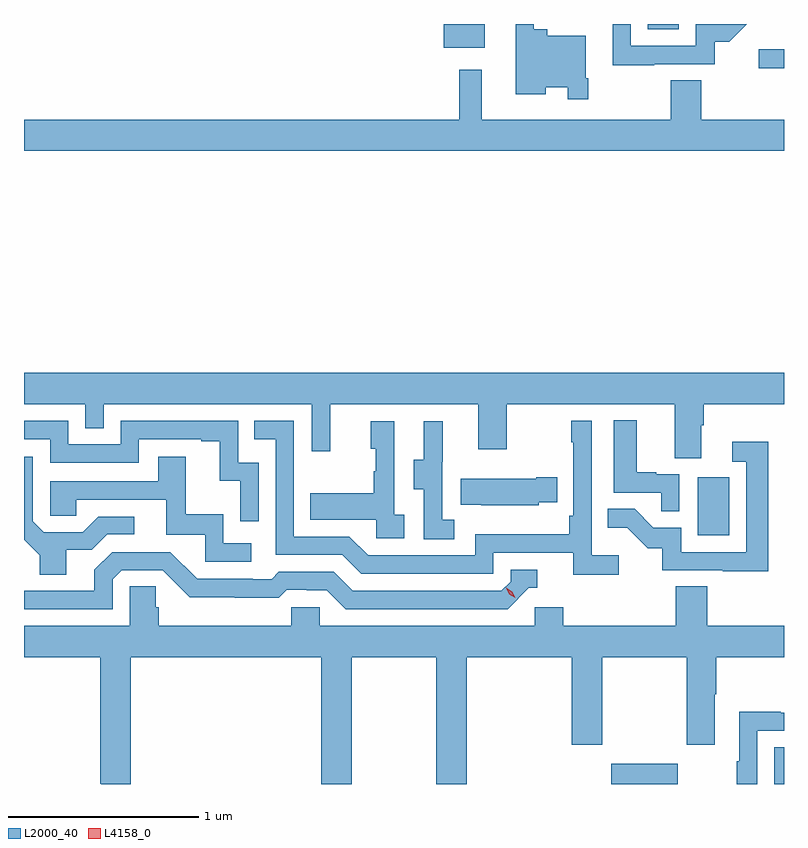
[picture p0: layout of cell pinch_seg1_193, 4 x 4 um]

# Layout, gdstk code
import gdstk
lib = gdstk.Library(unit=1e-6, precision=1e-09)
def R(c, l, rs):  # rectangles x0, y0, x1, y1
    for r in rs: c.add(gdstk.rectangle(r[:2], r[2:], *l))
def P(c, l, *ps):  # polygons
    for p in ps: c.add(gdstk.Polygon(p, *l))
L2000_40 = (2000, 40)
L4158_0 = (4158, 0)

pinch_seg1_193 = lib.new_cell('pinch_seg1_193')
R(pinch_seg1_193, L2000_40, [(974.096,572.376,974.446,572.482), (974.954,572.376,975.005,572.569), (974.552,573.684,974.716,573.991), (974.871,576.142,975.005,576.244), (973.214,576.251,973.429,576.376), (974.288,576.348,974.452,576.376)])
P(pinch_seg1_193, L2000_40, [(973.975,576.091),(973.962,576.091),(973.962,576.313),(973.758,576.313),(973.758,576.349),(973.689,576.349),(973.689,576.376),(973.592,576.376),(973.592,576.005),(973.75,576.005),(973.75,576.044),(973.866,576.044),(973.866,575.979),(973.975,575.979)],
  [(974.321,576.165),(974.64,576.165),(974.64,576.282),(974.716,576.282),(974.81,576.376),(974.541,576.376),(974.541,576.261),(974.199,576.261),(974.199,576.376),(974.103,576.376),(974.103,576.16),(974.321,576.16)],
  [(975.005,575.872),(974.57,575.872),(974.57,576.08),(974.41,576.08),(974.41,575.872),(973.414,575.872),(973.414,576.136),(973.297,576.136),(973.297,575.872),(971.005,575.872),(971.005,575.708),(975.005,575.708)],
  [(974.569,574.264),(974.582,574.264),(974.582,574.376),(975.005,574.376),(975.005,574.54),(971.005,574.54),(971.005,574.376),(971.328,574.376),(971.328,574.249),(971.424,574.249),(971.424,574.376),(972.519,574.376),(972.519,574.128),(972.617,574.128),(972.617,574.376),(973.397,574.376),(973.397,574.137),(973.545,574.137),(973.545,574.376),(974.429,574.376),(974.429,574.09),(974.569,574.09)],
  [(974.454,574.005),(974.333,574.005),(974.333,574.018),(974.23,574.018),(974.23,574.291),(974.108,574.291),(974.108,573.909),(974.359,573.909),(974.359,573.811),(974.454,573.811)],
  [(974.134,573.58),(973.992,573.58),(973.992,574.288),(973.884,574.288),(973.884,574.175),(973.896,574.175),(973.896,573.787),(973.876,573.787),(973.876,573.691),(973.38,573.691),(973.38,573.579),(972.816,573.579),(972.717,573.678),(972.426,573.678),(972.426,574.287),(972.217,574.287),(972.217,574.191),(972.33,574.191),(972.33,573.582),(972.68,573.582),(972.779,573.483),(973.476,573.483),(973.476,573.594),(973.895,573.594),(973.895,573.478),(974.134,573.478)],
  [(972.24,574.068),(972.132,574.068),(972.132,574.287),(971.514,574.287),(971.514,574.164),(971.238,574.164),(971.238,574.287),(971.005,574.287),(971.005,574.191),(971.142,574.191),(971.142,574.068),(971.61,574.068),(971.61,574.191),(971.939,574.191),(971.939,574.179),(972.035,574.179),(972.035,573.971),(972.144,573.971),(972.144,573.759),(972.24,573.759)],
  [(973.27,573.767),(973.206,573.767),(973.206,574.071),(973.208,574.071),(973.208,574.285),(973.109,574.285),(973.109,574.083),(973.055,574.083),(973.055,573.928),(973.11,573.928),(973.11,573.664),(973.27,573.664)],
  [(973.006,573.794),(972.954,573.794),(972.954,574.285),(972.83,574.285),(972.83,574.14),(972.856,574.14),(972.856,574.022),(972.846,574.022),(972.846,573.907),(972.511,573.907),(972.511,573.767),(972.858,573.767),(972.858,573.669),(973.006,573.669)],
  [(974.921,574.177),(974.733,574.177),(974.733,574.071),(974.805,574.071),(974.805,573.597),(974.463,573.597),(974.463,573.726),(974.318,573.726),(974.22,573.824),(974.077,573.824),(974.077,573.725),(974.181,573.725),(974.288,573.618),(974.365,573.618),(974.365,573.501),(974.683,573.501),(974.683,573.496),(974.921,573.496)],
  [(972.202,573.642),(972.054,573.642),(972.054,573.796),(971.855,573.796),(971.855,574.099),(971.711,574.099),(971.711,573.969),(971.142,573.969),(971.142,573.789),(971.279,573.789),(971.279,573.873),(971.753,573.873),(971.753,573.687),(971.958,573.687),(971.958,573.546),(972.202,573.546)],
  [(971.227,573.61),(971.362,573.61),(971.442,573.69),(971.584,573.69),(971.584,573.783),(971.396,573.783),(971.315,573.702),(971.109,573.702),(971.052,573.759),(971.052,574.099),(971.005,574.099),(971.005,573.662),(971.087,573.58),(971.087,573.478),(971.227,573.478)],
  [(973.713,573.86),(973.811,573.86),(973.811,573.99),(973.7,573.99),(973.7,573.982),(973.303,573.982),(973.303,573.845),(973.411,573.845),(973.411,573.842),(973.713,573.842)],
  [(971.472,573.453),(971.52,573.501),(971.736,573.501),(971.878,573.359),(972.114,573.359),(972.114,573.357),(972.347,573.357),(972.389,573.399),(972.492,573.399),(972.492,573.396),(972.599,573.396),(972.698,573.297),(973.551,573.297),(973.662,573.408),(973.705,573.408),(973.705,573.504),(973.566,573.504),(973.566,573.441),(973.518,573.393),(972.735,573.393),(972.636,573.492),(972.347,573.492),(972.308,573.453),(972.209,573.453),(972.209,573.456),(971.916,573.456),(971.775,573.597),(971.469,573.597),(971.375,573.503),(971.375,573.393),(971.005,573.393),(971.005,573.297),(971.472,573.297)],
  [(973.889,572.583),(974.049,572.583),(974.049,573.044),(974.494,573.044),(974.494,572.583),(974.641,572.583),(974.641,572.848),(974.649,572.848),(974.649,573.044),(975.005,573.044),(975.005,573.208),(974.6,573.208),(974.6,573.416),(974.435,573.416),(974.435,573.208),(973.844,573.208),(973.844,573.306),(973.692,573.306),(973.692,573.208),(972.561,573.208),(972.561,573.306),(972.411,573.306),(972.411,573.208),(971.714,573.208),(971.714,573.306),(971.699,573.306),(971.699,573.416),(971.562,573.416),(971.562,573.208),(971.005,573.208),(971.005,573.044),(971.407,573.044),(971.407,572.377),(971.411,572.377),(971.411,572.376),(971.567,572.376),(971.567,573.044),(972.569,573.044),(972.569,572.376),(972.729,572.376),(972.729,573.044),(973.174,573.044),(973.174,572.376),(973.334,572.376),(973.334,573.044),(973.889,573.044)],
  [(974.865,572.655),(975.005,572.655),(975.005,572.751),(974.987,572.751),(974.987,572.756),(974.769,572.756),(974.769,572.495),(974.757,572.495),(974.757,572.376),(974.865,572.376)])
P(pinch_seg1_193, L4158_0, [(973.59,573.355),(973.559,573.375),(973.542,573.407),(973.542,573.408),(973.542,573.408),(973.574,573.388),(973.59,573.356),(973.59,573.355)])

lib.write_gds('pinch_seg1_193.gds')
